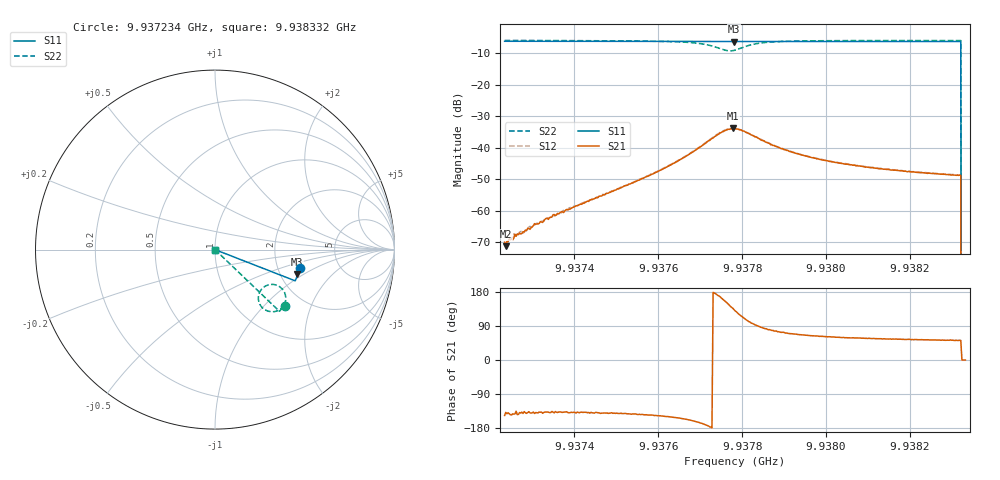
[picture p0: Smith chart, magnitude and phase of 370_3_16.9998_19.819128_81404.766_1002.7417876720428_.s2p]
#  HZ  S  RI  R  50.00
! Rohde & Schwarz Vector Network Analyzer
! Rohde-Schwarz,ZNB20-2Port,1311601062101988,3.16
! Created: UTC 3/20/2024, 11:08:42 PM
! freq[Hz]  re:S11  im:S11  re:S21  im:S21  re:S12  im:S12  re:S22  im:S22
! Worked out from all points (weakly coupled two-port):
!   401 points, 9.937234 GHz to 9.938332 GHz, reference 50 ohm
!   highest |S21| = -33.92 dB at 9.937778 GHz (marker M1); lowest = -71.2 dB at 9.937236 GHz (marker M2)
!   lowest |S11| = -6.4 dB at 9.93778 GHz (marker M3), VSWR 2.84, Z = 123 - j44.3 ohm
!   |S11| at or under -10 dB: 9.938321 GHz to end of sweep
!   |S22| runs from - to -6.0 dB; largest |S21 - S12| = 0.00077
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9.9372336e9  0.4726 -0.1039  -0.000266 -0.000177  -0.000236 -0.000172  0.3883 -0.312
9.9372363e9  0.4724 -0.1041  -0.000206 -0.000184  -0.000248 -0.000185  0.3879 -0.3126
9.9372528e9  0.4722 -0.1051  -0.000273 -0.000213  -0.000292 -0.000246  0.3869 -0.3137
9.9372913e9  0.4713 -0.1078  -0.000381 -0.000363  -0.000426 -0.00035  0.3841 -0.3163
9.9373462e9  0.4702 -0.1114  -0.000572 -0.000556  -0.000582 -0.000548  0.3798 -0.3203
9.9374176e9  0.4687 -0.1162  -0.000935 -0.000859  -0.00103 -0.000835  0.373 -0.3258
9.9376017e9  0.4645 -0.1285  -0.00362 -0.00233  -0.0037 -0.00234  0.3415 -0.3428
9.9376594e9  0.463 -0.1325  -0.00624 -0.0029  -0.00637 -0.00284  0.3173 -0.3466
9.9377116e9  0.4612 -0.1359  -0.0115 -0.00189  -0.0117 -0.00167  0.275 -0.3329
9.9377528e9  0.4594 -0.138  -0.017 0.00567  -0.0171 0.00616  0.2415 -0.2675
9.9377775e9  0.4588 -0.1385  -0.0147 0.0138  -0.0142 0.0143  0.2727 -0.2086
9.9377803e9  0.4588 -0.1383  -0.0137 0.0146  -0.0135 0.0151  0.2793 -0.2041
9.937783e9  0.4589 -0.1386  -0.0129 0.0153  -0.0126 0.0156  0.2863 -0.2007
9.9378022e9  0.4591 -0.1394  -0.00695 0.017  -0.00655 0.0174  0.3349 -0.1958
9.9378407e9  0.4591 -0.142  0.000483 0.0139  0.000739 0.0139  0.3849 -0.2341
9.9379011e9  0.4579 -0.1465  0.00286 0.00885  0.0031 0.00886  0.3939 -0.2788
9.9379671e9  0.4564 -0.151  0.00306 0.00623  0.00318 0.00629  0.388 -0.3022
9.938044e9  0.4544 -0.1563  0.00284 0.00473  0.00295 0.00478  0.3806 -0.3172
9.9381511e9  0.4517 -0.1631  0.00255 0.0037  0.00266 0.00372  0.3713 -0.3301
9.9383159e9  0.4471 -0.1735  0.00225 0.00287  0.00232 0.00287  0.3594 -0.3436
9.9383297e9  0 0  0 0  0 0  0 0
9.9383324e9  0 0  0 0  0 0  0 0
